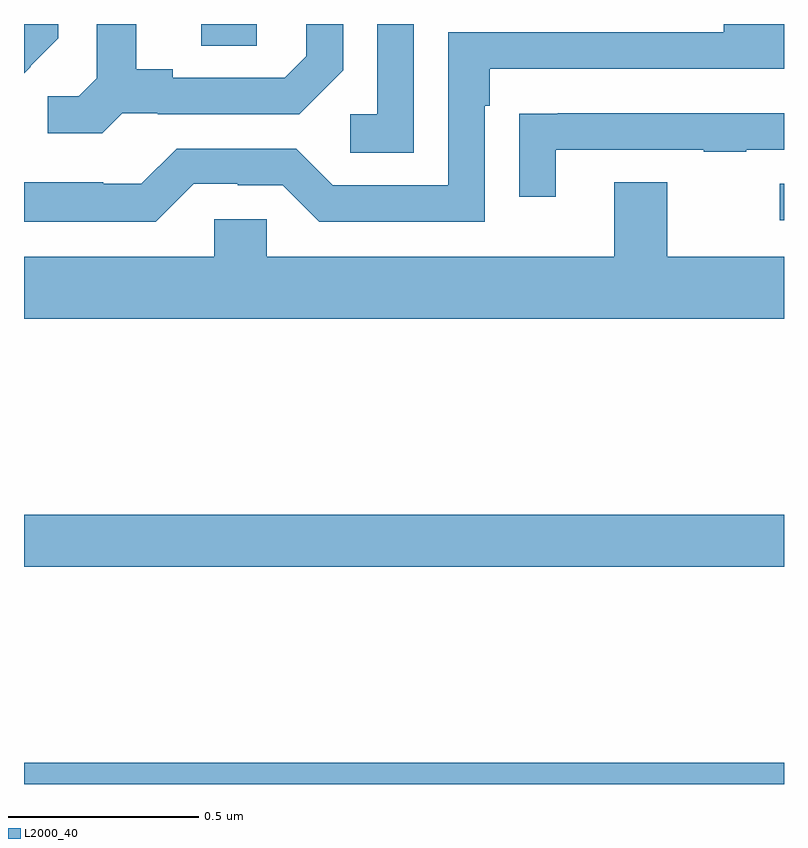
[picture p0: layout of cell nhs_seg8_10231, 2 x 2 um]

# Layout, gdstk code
import gdstk
lib = gdstk.Library(unit=1e-6, precision=1e-09)
def R(c, l, rs):  # rectangles x0, y0, x1, y1
    for r in rs: c.add(gdstk.rectangle(r[:2], r[2:], *l))
def P(c, l, *ps):  # polygons
    for p in ps: c.add(gdstk.Polygon(p, *l))
L2000_40 = (2000, 40)

nhs_seg8_10231 = lib.new_cell('nhs_seg8_10231')
R(nhs_seg8_10231, L2000_40, [(246,1157.9,248,1157.956), (246,1158.472,248,1158.608), (247.989,1159.383,248,1159.479), (246.467,1159.843,246.612,1159.9)])
P(nhs_seg8_10231, L2000_40, [(246.447,1159.479),(246.563,1159.479),(246.563,1159.476),(246.681,1159.476),(246.777,1159.38),(247.212,1159.38),(247.212,1159.685),(247.225,1159.685),(247.225,1159.782),(248,1159.782),(248,1159.9),(247.841,1159.9),(247.841,1159.878),(247.116,1159.878),(247.116,1159.476),(246.813,1159.476),(246.717,1159.572),(246.402,1159.572),(246.309,1159.479),(246.209,1159.479),(246.209,1159.483),(246,1159.483),(246,1159.379),(246.347,1159.379)],
  [(246.258,1159.665),(246.352,1159.665),(246.352,1159.662),(246.724,1159.662),(246.84,1159.778),(246.84,1159.9),(246.743,1159.9),(246.743,1159.815),(246.686,1159.758),(246.391,1159.758),(246.391,1159.781),(246.295,1159.781),(246.295,1159.9),(246.191,1159.9),(246.191,1159.757),(246.144,1159.71),(246.063,1159.71),(246.063,1159.613),(246.206,1159.613)],
  [(246.018,1159.788),(246.017,1159.789),(246.09,1159.862),(246.09,1159.9),(246,1159.9),(246,1159.77)],
  [(247.026,1159.9),(246.93,1159.9),(246.93,1159.662),(246.858,1159.662),(246.858,1159.561),(247.026,1159.561)],
  [(247.399,1159.569),(247.789,1159.569),(247.789,1159.564),(247.901,1159.564),(247.901,1159.569),(248,1159.569),(248,1159.665),(247.405,1159.665),(247.405,1159.664),(247.303,1159.664),(247.303,1159.446),(247.399,1159.446)],
  [(248,1159.288),(247.693,1159.288),(247.693,1159.483),(247.553,1159.483),(247.553,1159.288),(246.639,1159.288),(246.639,1159.386),(246.501,1159.386),(246.501,1159.288),(246,1159.288),(246,1159.124),(248,1159.124)])

lib.write_gds('nhs_seg8_10231.gds')
